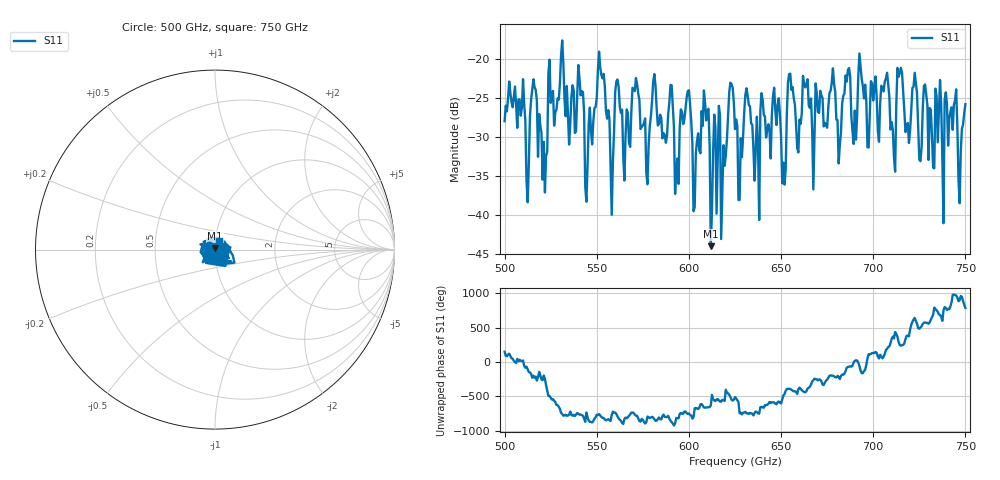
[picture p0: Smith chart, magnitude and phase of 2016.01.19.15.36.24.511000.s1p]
!Created with skrf (http://scikit-rf.org).
# GHz S RI R 50.0
!freq ReS11 ImS11
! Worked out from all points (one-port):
!   401 points, 500 GHz to 750 GHz, reference 50 ohm
!   lowest |S11| = -44.0 dB at 611.9 GHz (marker M1), VSWR 1.01, Z = 50 + j0.632 ohm
!   |S11| at or under -10 dB: start of sweep to end of sweep
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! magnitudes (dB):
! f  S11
! 500 GHz  -28.0
! 512.5 GHz  -38.4
! 516.2 GHz  -23.7
! 521.9 GHz  -37.1
! 531.2 GHz  -17.7
! 541.2 GHz  -24.7
! 544.4 GHz  -38.3
! 551.9 GHz  -21.1
! 558.1 GHz  -40.0
! 562.5 GHz  -26.2
! 590 GHz  -23.4
! 593.8 GHz  -32.8
! 599.4 GHz  -24.2
! 609.4 GHz  -27.9
! 611.9 GHz  -44.0
! 625 GHz  -29.0
! 628.1 GHz  -30.2
! 631.2 GHz  -23.8
! 636.9 GHz  -27.4
! 647.5 GHz  -28.5
! 651.2 GHz  -33.3
! 656.2 GHz  -23.6
! 687.5 GHz  -22.3
! 707.5 GHz  -21.8
! 710.6 GHz  -29.1
! 714.4 GHz  -21.9
! 718.8 GHz  -28.2
! 750 GHz  -25.8
